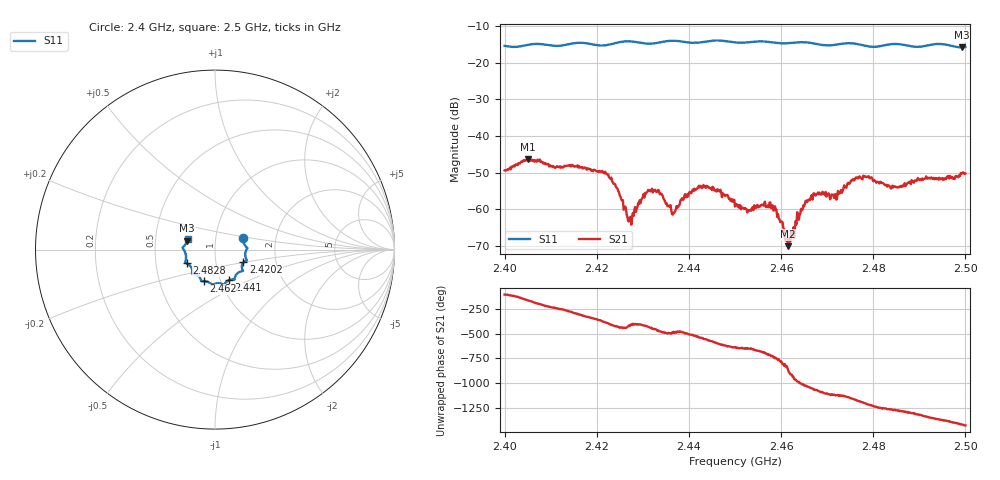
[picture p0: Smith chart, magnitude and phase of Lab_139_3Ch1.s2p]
# Hz S RI R 50
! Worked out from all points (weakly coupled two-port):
!   601 points, 2.4 GHz to 2.5 GHz, reference 50 ohm
!   highest |S21| = -46.41 dB at 2.405 GHz (marker M1); lowest = -70.1 dB at 2.4615 GHz (marker M2)
!   lowest |S11| = -15.8 dB at 2.4992 GHz (marker M3), VSWR 1.39, Z = 36.4 + j3.68 ohm
!   |S11| at or under -10 dB: start of sweep to end of sweep
!   S12 and S22 are empty: the file has one direction only
!   S11 on the Smith chart (normalised r, x): 2.4 GHz: 1.36, +0.17; 2.4202 GHz: 1.36, -0.20; 2.441 GHz: 1.10, -0.39; 2.462 GHz: 0.84, -0.30; 2.4828 GHz: 0.72, -0.11; 2.5 GHz: 0.73, +0.09
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2.4e9  0.1581 0.0622  -0.00094 -0.00326  0 0  0 0
2.405e9  0.1749 0.0143  -0.00461 -0.00125  0 0  0 0
2.416667e9  0.1772 -0.0608  0.00266 0.00266  0 0  0 0
2.420167e9  0.1581 -0.0712  0.00325 -4.11e-05  0 0  0 0
2.423667e9  0.1506 -0.1043  0.00109 -0.00193  0 0  0 0
2.427167e9  0.1556 -0.1192  0.000334 -0.00068  0 0  0 0
2.430667e9  0.1297 -0.1285  0.000724 -0.00146  0 0  0 0
2.433333e9  0.1116 -0.1511  -0.000568 -0.00174  0 0  0 0
2.436667e9  0.1083 -0.1677  -0.000463 -0.000764  0 0  0 0
2.441e9  0.0782 -0.17  -0.00167 -0.000597  0 0  0 0
2.444333e9  0.0543 -0.19  -0.00174 0.000884  0 0  0 0
2.45e9  0.0282 -0.1877  8.41e-05 0.00109  0 0  0 0
2.457667e9  -0.0235 -0.1898  0.00123 5.98e-05  0 0  0 0
2.4615e9  -0.0561 -0.176  -0.000245 -0.000193  0 0  0 0
2.462e9  -0.0606 -0.1757  -0.000356 5.38e-05  0 0  0 0
2.466667e9  -0.0789 -0.1682  0.00137 0.000733  0 0  0 0
2.471667e9  -0.1107 -0.1363  0.00125 -0.000984  0 0  0 0
2.476667e9  -0.127 -0.1267  -0.000413 -0.00259  0 0  0 0
2.482833e9  -0.1574 -0.0767  -0.00215 -0.000147  0 0  0 0
2.483333e9  -0.1606 -0.0753  -0.0021 2.86e-05  0 0  0 0
2.499167e9  -0.1547 0.0492  0.00276 0.00125  0 0  0 0
2.5e9  -0.1522 0.061  0.00296 0.000771  0 0  0 0
